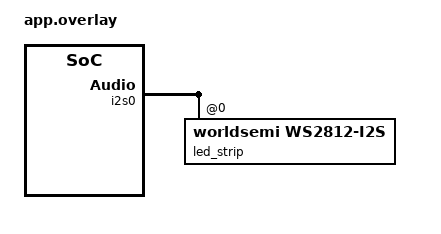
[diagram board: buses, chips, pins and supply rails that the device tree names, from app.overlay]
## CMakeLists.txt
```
# SPDX-License-Identifier: Apache-2.0
################################################################################
cmake_minimum_required(VERSION 3.20.0)
################################################################################
list(APPEND BOARD_ROOT ${CMAKE_CURRENT_SOURCE_DIR}/..)
list(APPEND ZEPHYR_EXTRA_MODULES ${CMAKE_CURRENT_SOURCE_DIR}/Drivers/OurDriver)
################################################################################
# BEFORE find_package
message(STATUS "=== BEFORE find_package ===")
message(STATUS "DTS_ROOT before: ${DTS_ROOT}")	
################################################################################
find_package(Zephyr REQUIRED HINTS $ENV{ZEPHYR_BASE})
################################################################################
# AFTER find_package
message(STATUS "=== AFTER find_package ===")
message(STATUS "APPLICATION_SOURCE_DIR : ${APPLICATION_SOURCE_DIR}")
message(STATUS "ZEPHYR_BASE            : ${ZEPHYR_BASE}")
message(STATUS "DTS_ROOT               : ${DTS_ROOT}")
message(STATUS "ZEPHYR_MODULES         : ${ZEPHYR_MODULES}")
message(STATUS "ZEPHYR_EXTRA_MODULES   : ${ZEPHYR_EXTRA_MODULES}")
message(STATUS "=== END ===")
project(led_strip)
################################################################################
FILE(GLOB app_sources src/*.c)
target_sources(app PRIVATE ${app_sources})
################################################################################
```

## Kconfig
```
menuconfig LED_SUBSYSTEM
    bool "LED Subsystem"
    default y
    help
      Enable the LED subsystem configuration.

if LED_SUBSYSTEM

config APP_HEARTBEAT_PERIOD_MS
    	int "App Heartbeat period (100-2000)ms"
    	default 500
    	range 100 2000
# ─────────────────────────────────────────────
# Blink Speed Choice
# ─────────────────────────────────────────────
choice SAMPLE_LED_BLINK_SPEED
    prompt "LED blink sleep time"
    default SAMPLE_LED_BLINK_MEDIUM
    help
      Select the blink speed of the LED strip.

config SAMPLE_LED_BLINK_SLOW
    bool "Slow"

config SAMPLE_LED_BLINK_MEDIUM
    bool "Medium"

config SAMPLE_LED_BLINK_FAST
    bool "Fast"

endchoice

# Hidden — derived automatically from choice above
config SAMPLE_LED_UPDATE_DELAY
    int
    default 1000 if SAMPLE_LED_BLINK_SLOW
    default 500  if SAMPLE_LED_BLINK_MEDIUM
    default 200  if SAMPLE_LED_BLINK_FAST

# ─────────────────────────────────────────────
# Color Choice
# ─────────────────────────────────────────────
choice SAMPLE_LED_COLOR
    prompt "LED color"
    default SAMPLE_LED_COLOR_RED
    help
      Select the active color of the LED strip.

config SAMPLE_LED_COLOR_RED
    bool "Red"

config SAMPLE_LED_COLOR_GREEN
    bool "Green"

config SAMPLE_LED_COLOR_BLUE
    bool "Blue"

endchoice

# Hidden — derived automatically from color choice above
config SAMPLE_LED_COLOR_R
    int
    default 255 if SAMPLE_LED_COLOR_RED
    default 0

config SAMPLE_LED_COLOR_G
    int
    default 255 if SAMPLE_LED_COLOR_GREEN
    default 0

config SAMPLE_LED_COLOR_B
    int
    default 255 if SAMPLE_LED_COLOR_BLUE
    default 0

# ─────────────────────────────────────────────
# Advanced LED Settings (menuconfig)
# ─────────────────────────────────────────────
menuconfig LED_ADVANCED_SETTINGS
    bool "Advanced LED settings"
    default n
    help
      Enable advanced LED configuration options.

if LED_ADVANCED_SETTINGS

config SAMPLE_LED_BRIGHTNESS
    int "LED brightness"
    range 0 100
    default 100
    help
      Set the brightness level of the LED strip (0 = off, 100 = full brightness).

config SAMPLE_LED_FADE_DURATION
    int "LED fade duration (ms)"
    default 500
    help
      Duration in milliseconds for the LED fade effect.



# ─────────────────────────────────────────────
# Expert Settings (menu)
# ─────────────────────────────────────────────
menu "Expert settings"

config SAMPLE_LED_DEBUG
    bool "Enable LED debugging"
    default n
    help
      Enable debug logging for the LED subsystem.
      Prints detailed state information on each strip update.

config SAMPLE_LED_CUSTOM_PATTERN
    bool "Enable custom blink pattern"
    default n
    help
      When enabled, the LED will use a custom blink pattern
      instead of the standard single-color sweep.

endmenu # Expert settings

endif # LED_ADVANCED_SETTINGS

endif # LED_SUBSYSTEM

source "Kconfig.zephyr"
```

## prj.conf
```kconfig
CONFIG_LOG=y
CONFIG_LED_STRIP=y
CONFIG_LED_STRIP_LOG_LEVEL_DBG=y
CONFIG_SHELL=y
CONFIG_SHELL_VT100_COLORS=y
```

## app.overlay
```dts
/*
 * Copyright (c) 2024-2025 Espressif Systems (Shanghai) Co., Ltd.
 *
 * SPDX-License-Identifier: Apache-2.0
 */

#include <zephyr/dt-bindings/led/led.h>

/ {
	aliases {
		app-led = &led_strip;
	};

	our_driver0: our_driver {
	compatible = "our,driver";
	status = "okay";	
};

	our_driver1: our_driver1 {
	compatible = "our,driver";
	status = "okay";	
};
};

&i2s0_default {
	group1 {
		pinmux = <I2S0_O_SD_GPIO48>;
	};
};

i2s_led: &i2s0 {
	status = "okay";

	dmas = <&dma 3>;
	dma-names = "tx";

	led_strip: ws2812@0 {
		compatible = "worldsemi,ws2812-i2s";

		reg = <0>;
		chain-length = <1>;
		color-mapping = <LED_COLOR_ID_GREEN
				 LED_COLOR_ID_RED
				 LED_COLOR_ID_BLUE>;
		reset-delay = <500>;
	};
};

&dma {
	status = "okay";
};
```

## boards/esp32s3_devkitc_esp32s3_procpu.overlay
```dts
/* CORRECT - alias points to the child node that has gpios */
/ { 
	aliases {
    led0 = &led_0;
};

leds {
    compatible = "gpio-leds";
    led_0: led_0 {        /* label must be on this node */
        gpios = <&gpio1 16 GPIO_ACTIVE_HIGH>;
    };
};
};

&gpio0 {
    status = "okay";
};
```

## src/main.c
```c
#include <errno.h>
#include <string.h>
#include <zephyr/kernel.h>
#include <zephyr/drivers/sensor.h>
#include "../Drivers/OurDriver/our_driver.h"

#define DELAY_TIME K_MSEC(CONFIG_SAMPLE_LED_UPDATE_DELAY)
#define DELAY_TIME_1 K_MSEC(CONFIG_APP_HEARTBEAT_PERIOD_MS)

#define LOG_LEVEL 4
#include <zephyr/logging/log.h>
LOG_MODULE_REGISTER(main, LOG_LEVEL_INF);
    
int main(void)
{
    int return_0 = 0;
    int return_1 = 0;
    
    static int Counterinst0 = 0;
    static int Counterinst1 = 0;
    
    const struct device* driver = DEVICE_DT_GET(DT_NODELABEL(our_driver0));
    const struct device* driver1 = DEVICE_DT_GET(DT_NODELABEL(our_driver1));

    struct sensor_value val;

    while (1)
    {
        LOG_INF("set param counter to instance 0"); 
        Counterinst0 ++;
        CustomDriver_ParamSet(driver,Counterinst0);
        LOG_INF("set param counter to instance 1");
        Counterinst1 ++;
        CustomDriver_ParamSet(driver1,Counterinst1);
        return_0 = sensor_channel_get(driver, SENSOR_CHAN_AMBIENT_TEMP, &val);
        k_sleep(DELAY_TIME_1); 
        return_1 = sensor_sample_fetch(driver);
        k_sleep(DELAY_TIME_1);
    }
    return 0;
}
```
